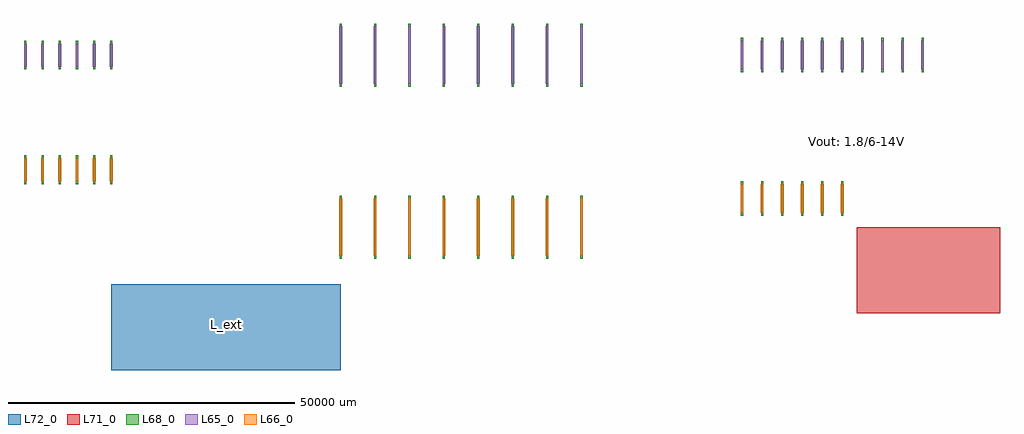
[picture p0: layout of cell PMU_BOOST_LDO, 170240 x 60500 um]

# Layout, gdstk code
import gdstk
lib = gdstk.Library(unit=1e-6, precision=1e-09)
def R(c, l, rs):  # rectangles x0, y0, x1, y1
    for r in rs: c.add(gdstk.rectangle(r[:2], r[2:], *l))
def A(c, l, x, y, w, h, nx, ny, dx, dy):  # array of equal rectangles
    R(c, l, [(x+i*dx, y+j*dy, x+i*dx+w, y+j*dy+h) for i in range(nx) for j in range(ny)])
L65_0 = (65, 0)
L66_0 = (66, 0)
L68_0 = (68, 0)
L71_0 = (71, 0)
L72_0 = (72, 0)

pmu_boost_ldo = lib.new_cell('PMU_BOOST_LDO')
A(pmu_boost_ldo, L65_0, -30240, 40000, 480, 10000, 8, 1, 6000, 0)
A(pmu_boost_ldo, L65_0, 39760, 42500, 480, 5000, 10, 1, 3500, 0)
A(pmu_boost_ldo, L65_0, -85240, 43000, 480, 4000, 6, 1, 3000, 0)
A(pmu_boost_ldo, L66_0, -30240, 10000, 480, 10000, 8, 1, 6000, 0)
A(pmu_boost_ldo, L66_0, 39760, 17500, 480, 5000, 6, 1, 3500, 0)
A(pmu_boost_ldo, L66_0, -85240, 23000, 480, 4000, 6, 1, 3000, 0)
A(pmu_boost_ldo, L68_0, -30180, 9500, 360, 11000, 8, 2, 6000, 30000)
A(pmu_boost_ldo, L68_0, 39820, 17000, 360, 6000, 6, 1, 3500, 0)
A(pmu_boost_ldo, L68_0, -85180, 22500, 360, 5000, 6, 2, 3000, 20000)
A(pmu_boost_ldo, L68_0, 39820, 42000, 360, 6000, 10, 1, 3500, 0)
R(pmu_boost_ldo, L71_0, [(60000,0,85000,15000)])
R(pmu_boost_ldo, L72_0, [(-70000,-10000,-30000,5000)])
pmu_boost_ldo.add(gdstk.Label('L_ext', (-50000,-2000), layer=72, texttype=0))
pmu_boost_ldo.add(gdstk.Label('PMU: Boost + Dual LDO (sky130)', (-90000,70000), layer=71, texttype=0))
pmu_boost_ldo.add(gdstk.Label('Bandgap', (-85000,55000), layer=71, texttype=0))
pmu_boost_ldo.add(gdstk.Label('Boost 6-14V', (-20000,55000), layer=71, texttype=0))
pmu_boost_ldo.add(gdstk.Label('LDO 1.8V', (50000,55000), layer=71, texttype=0))
pmu_boost_ldo.add(gdstk.Label('Vin: 3.3V', (-90000,0), layer=71, texttype=0))
pmu_boost_ldo.add(gdstk.Label('Vout: 1.8/6-14V', (60000,30000), layer=71, texttype=0))

lib.write_gds('PMU_BOOST_LDO.gds')
